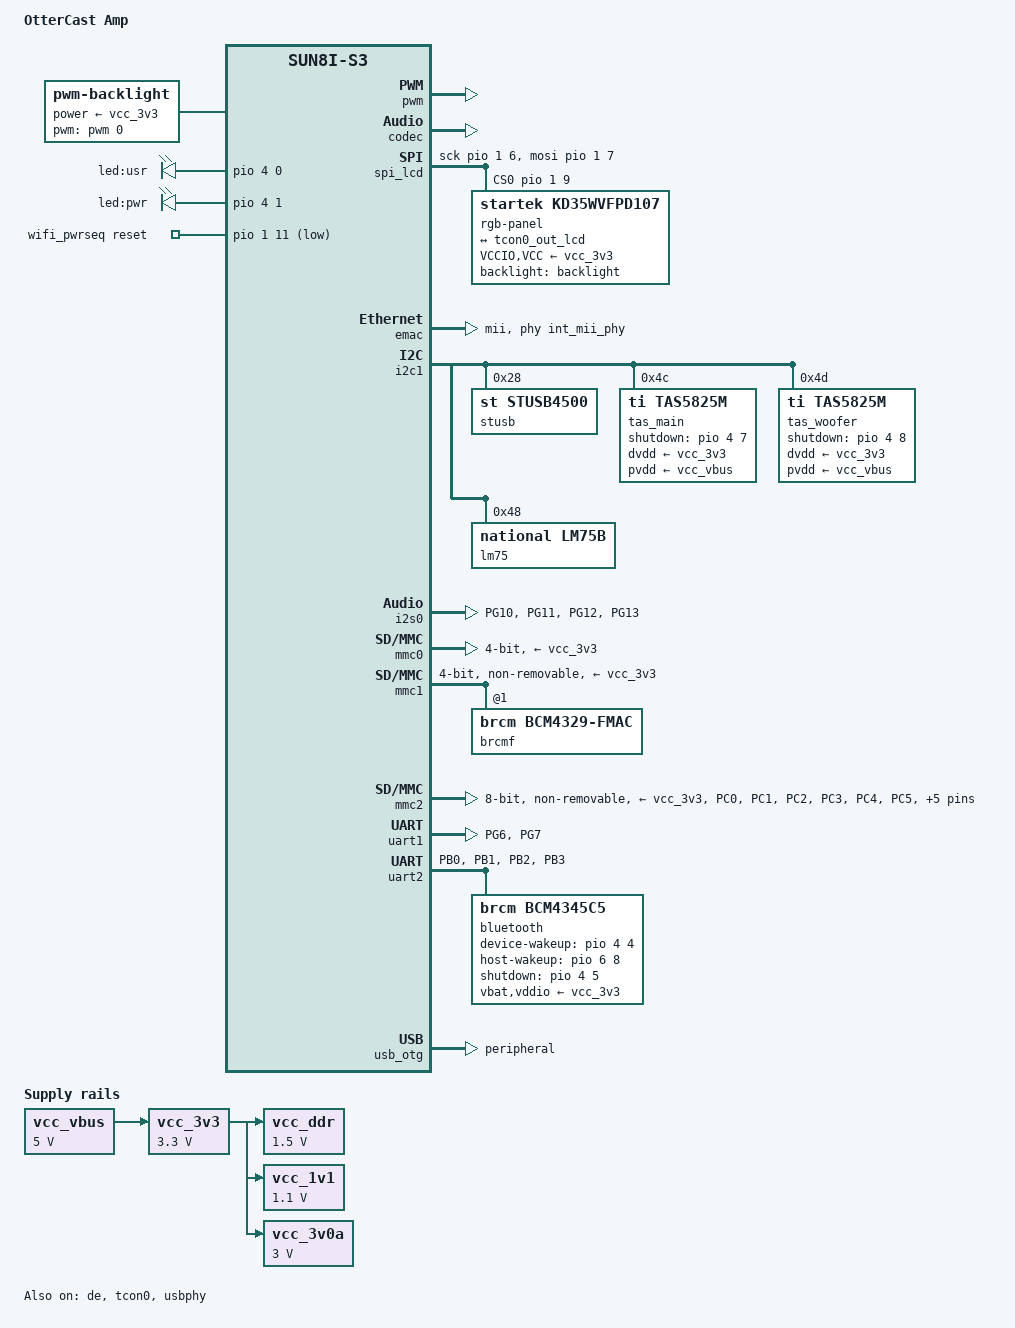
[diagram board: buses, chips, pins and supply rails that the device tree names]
// SPDX-License-Identifier: (GPL-2.0+ OR X11)
/*
 * Copyright 2021 Tobias Schramm <t.schramm@t-sys.eu>
 */

/dts-v1/;
#include "sun8i-v3.dtsi"
#include <dt-bindings/gpio/gpio.h>
#include <dt-bindings/input/input.h>

/ {
	model = "OtterCast Amp";
	compatible = "otter,ottercast-amp", "allwinner,sun8i-s3";

	aliases {
		serial0 = &uart1;
	};

	chosen {
		stdout-path = "serial0:115200n8";
	};

	soc {
		pwm: pwm@1c21400 {
			compatible = "allwinner,sun7i-a20-pwm";
			reg = <0x01c21400 0xc>;
			clocks = <&osc24M>;
			#pwm-cells = <3>;
		};

		codec: codec@1c22c00 {
		        #sound-dai-cells = <0>;
		        compatible = "allwinner,sun8i-v3s-codec";
		        reg = <0x01c22c00 0x400>;
		        interrupts = <GIC_SPI 29 IRQ_TYPE_LEVEL_HIGH>;
		        clocks = <&ccu CLK_BUS_CODEC>, <&ccu CLK_AC_DIG>;
		        clock-names = "apb", "codec";
		        resets = <&ccu RST_BUS_CODEC>;
		        dmas = <&dma 15>, <&dma 15>;
		        dma-names = "rx", "tx";
		        allwinner,codec-analog-controls = <&codec_analog>;
			allwinner,audio-routing = "Left ADC", "Line In",
						  "Right ADC", "Line In";
		};

		codec_analog: codec-analog@1c23000 {
			compatible = "allwinner,sun8i-h3-codec-analog";
			reg = <0x01c23000 0x4>;
		};
	};

	backlight: backlight {
		compatible = "pwm-backlight";
		default-brightness-level = <4095>;
		power-supply = <&vcc_3v3>;
		pinctrl-0 = <&backlight_pwm_pin>;
		pinctrl-names = "default";
		pwms = <&pwm 0 1000000 0>;
	};

	leds {
		compatible = "gpio-leds";

		led0 {
			label = "led:usr";
			gpios = <&pio 4 0 GPIO_ACTIVE_HIGH>; /* PE0 */
			linux,default-trigger = "heartbeat";
		};

		led1 {
			label = "led:pwr";
			gpios = <&pio 4 1 GPIO_ACTIVE_HIGH>; /* PE1 */
			default-state = "on";
		};
	};

        spi_lcd {
		compatible = "spi-gpio";
		#address-cells = <1>;
		ranges;

		cs-gpios = <&pio 1 9 GPIO_ACTIVE_HIGH>; /* PB9 */
		mosi-gpios = <&pio 1 7 GPIO_ACTIVE_HIGH>; /* PB7 */
		sck-gpios = <&pio 1 6 GPIO_ACTIVE_HIGH>; /* PB6 */
		num-chipselects = <1>;

		rgb-panel@0 {
			reg = <0>;
			compatible = "startek,kd35wvfpd107";
			backlight = <&backlight>;
			pinctrl-names = "default";
			pinctrl-0 = <&panel_pins>;
			VCCIO-supply = <&vcc_3v3>;
			VCC-supply = <&vcc_3v3>;

			port {
				lcd_in: endpoint {
					remote-endpoint = <&tcon0_out_lcd>;
				};
			};
		};
	};

	/*
	 * Power tree
	 * This is a virtual regulator, root of the power tree
	 * Should be replaced with stusb-provided regulator
	 */

	vcc_vbus: vcc-vbus {
		compatible = "regulator-fixed";
		regulator-always-on;
		regulator-boot-on;
		regulator-name = "vcc-vbus";
		regulator-min-microvolt = <5000000>;
		regulator-max-microvolt = <5000000>;
	};

	/* Regulators supplied by vcc_vbus */

	vcc_3v3: vcc-3v3 {
		compatible = "regulator-fixed";
		regulator-always-on;
		regulator-boot-on;
		regulator-name = "vcc-3v3";
		regulator-min-microvolt = <3300000>;
		regulator-max-microvolt = <3300000>;
		vin-supply = <&vcc_vbus>;
	};

	/* Regulators supplied by vcc_3v3 */

	vcc_ddr: vcc-ddr {
		compatible = "regulator-fixed";
		regulator-always-on;
		regulator-boot-on;
		regulator-name = "vcc-ddr";
		regulator-min-microvolt = <1500000>;
		regulator-max-microvolt = <1500000>;
		vin-supply = <&vcc_3v3>;
	};

	vcc_1v1: vcc-1v1 {
		compatible = "regulator-fixed";
		regulator-always-on;
		regulator-name = "vcc-1v1";
		regulator-min-microvolt = <1100000>;
		regulator-max-microvolt = <1100000>;
		vin-supply = <&vcc_3v3>;
	};

	vcc_3v0a: vcc-3v0a {
		compatible = "regulator-fixed";
		regulator-always-on;
		regulator-boot-on;
		regulator-name = "vcc-3v0a";
		regulator-min-microvolt = <3000000>;
		regulator-max-microvolt = <3000000>;
		vin-supply = <&vcc_3v3>;
	};

	sound {
		compatible = "simple-audio-card";
		simple-audio-card,name = "Otter-Audio-Card";
		simple-audio-card,format = "i2s";
		simple-audio-card,bitclock-master = <&dailink0_master>;
		simple-audio-card,frame-master = <&dailink0_master>;
		simple-audio-card,mclk-fs = <256>;
		simple-audio-card,widgets =
			"Speaker", "Speaker";
		simple-audio-card,routing =
			"Speaker", "main OUTA",
			"Speaker", "main OUTB",
			"Speaker", "woofer OUTA",
			"Speaker", "woofer OUTB";
		dailink0_master: simple-audio-card,cpu {
			sound-dai = <&i2s0>;
		};
		simple-audio-card,codec@0 {
			sound-dai = <&tas_main>;
		};

		simple-audio-card,codec@1 {
			sound-dai = <&tas_woofer>;
		};
	};

	wifi_pwrseq: wifi_pwrseq {
		compatible = "mmc-pwrseq-simple";
		reset-gpios = <&pio 1 11 GPIO_ACTIVE_LOW>; /* PB11 WL-PMU-EN */
		clocks = <&rtc 1>;
		clock-names = "ext_clock";
		post-power-on-delay-ms = <200>;
		power-off-on-shutdown;
	};
};

&de {
	status = "okay";
};

&emac {
	phy-handle = <&int_mii_phy>;
	phy-mode = "mii";
	status = "okay";
};

&i2c1 {
	status = "okay";

	pinctrl-names = "default";
	pinctrl-0 = <&i2c1_pe_pins>;

	stusb@28 {
		compatible = "st,stusb4500";
		reg = <0x28>;
	};

	tas_main: tas5825m@4c {
		#sound-dai-cells = <0>;
		compatible = "ti,tas5825m";
		reg = <0x4c>;
		dvdd-supply = <&vcc_3v3>;
		pvdd-supply = <&vcc_vbus>;
		shutdown-gpios = <&pio 4 7 GPIO_ACTIVE_HIGH>;
		sound-name-prefix = "main";
		tas5825m,gpio2-func = "sdout";
	};

	tas_woofer: tas5825m@4d {
		#sound-dai-cells = <0>;
		compatible = "ti,tas5825m";
		reg = <0x4d>;
		dvdd-supply = <&vcc_3v3>;
		pvdd-supply = <&vcc_vbus>;
		shutdown-gpios = <&pio 4 8 GPIO_ACTIVE_HIGH>;
		sound-name-prefix = "woofer";
	};

	lm75@48 {
		compatible = "national,lm75b";
		reg = <0x48>;
	};
};

&i2s0 {
	status = "okay";

	pinctrl-names = "default";
	pinctrl-0 = <&i2s0_pins>;
};

&mmc0 {
	vmmc-supply = <&vcc_3v3>;
	bus-width = <4>;
	broken-cd;
	status = "okay";
};

&mmc1 {
	vmmc-supply = <&vcc_3v3>;
	vqmmc-supply = <&vcc_3v3>;
	mmc-pwrseq = <&wifi_pwrseq>;
	bus-width = <4>;
	non-removable;
	no-1-8-v;
	cap-sd-highspeed;
	status = "okay";

	brcmf: wifi@1 {
		reg = <1>;
		compatible = "brcm,bcm4329-fmac";
	};
};

&mmc2 {
	vmmc-supply = <&vcc_3v3>;
	vqmmc-supply = <&vcc_3v3>;
	bus-width = <8>;
	non-removable;
	no-1-8-v;
	pinctrl-names = "default";
	pinctrl-0 = <&mmc2_pins>;
	status = "okay";
};

&pio {
	vcc-pd-supply = <&vcc_3v3>;
	vcc-pe-supply = <&vcc_3v3>;
};

&uart1 {
	status = "okay";

	pinctrl-names = "default";
	pinctrl-0 = <&uart1_pg_pins>;
};

&uart2 {
	status = "okay";
	pinctrl-names = "default";
	pinctrl-0 = <&uart2_pins>;
	uart-has-rtscts;

	bluetooth {
		compatible = "brcm,bcm4345c5";
		clocks = <&rtc 1>;
		clock-names = "lpo";
		device-wakeup-gpios = <&pio 4 4 GPIO_ACTIVE_HIGH>;
		host-wakeup-gpios = <&pio 6 8 GPIO_ACTIVE_HIGH>;
		max-speed = <1500000>;
		shutdown-gpios = <&pio 4 5 GPIO_ACTIVE_HIGH>;
		vbat-supply = <&vcc_3v3>;
		vddio-supply = <&vcc_3v3>;
	};
};

&pio {
	uart1_pg_pins: uart1-pg-pins {
		pins = "PG6", "PG7";
		function = "uart1";
	};

	i2s0_pins: i2s0-pins {
		pins = "PG10", "PG11", "PG12", "PG13";
		function = "i2s";
	};

	mmc2_pins: mmc2-pins {
		pins = "PC0", "PC1", "PC2", "PC3",
		       "PC4", "PC5", "PC6", "PC7",
		       "PC8", "PC9", "PC10";
		function = "mmc2";
		drive-strength = <30>;
		bias-pull-up;
	};

	uart2_pins: uart2-pins {
		/* TX, RX, RTS, CTS */
		pins = "PB0", "PB1", "PB2", "PB3";
		function = "uart2";
	};

	backlight_pwm_pin: backlight-pwm-pin {
		pins = "PB4";
		function = "pwm0";
	};

	panel_pins: panel-pins {
		pins = "PD0",  "PD1",  "PD2",  "PD3",  "PD4",  "PD5",
		       "PD6",  "PD7",  "PD8",  "PD9",  "PD10", "PD11",
		       "PD12", "PD13", "PD14", "PD15", "PD16", "PD17",
		       "PD18", "PD19", "PD20", "PD21";
		function = "lcd";
	};
};

&tcon0 {
	status = "okay";
};

&tcon0_out {
	tcon0_out_lcd: endpoint {
		remote-endpoint = <&lcd_in>;
	};
};

&usb_otg {
	dr_mode = "peripheral";
	status = "okay";
};

&usbphy {
	status = "okay";
};
